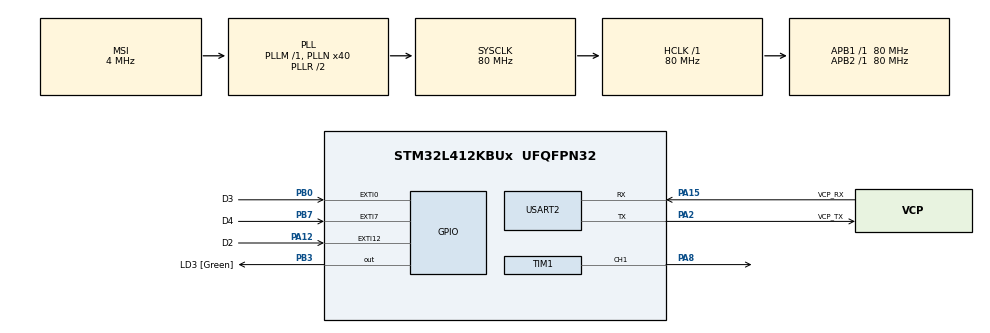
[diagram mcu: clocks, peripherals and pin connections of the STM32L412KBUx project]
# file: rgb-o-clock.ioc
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Dma.Request0=TIM1_CH1
Dma.TIM1_CH1.0.Direction=DMA_MEMORY_TO_PERIPH
Dma.TIM1_CH1.0.Instance=DMA1_Channel2
Dma.TIM1_CH1.0.MemDataAlignment=DMA_MDATAALIGN_BYTE
Dma.TIM1_CH1.0.MemInc=DMA_MINC_ENABLE
Dma.TIM1_CH1.0.Mode=DMA_CIRCULAR
Dma.TIM1_CH1.0.PeriphDataAlignment=DMA_PDATAALIGN_WORD
Dma.TIM1_CH1.0.PeriphInc=DMA_PINC_DISABLE
Dma.TIM1_CH1.0.Priority=DMA_PRIORITY_HIGH
Mcu.Family=STM32L4
Mcu.Name=STM32L412KBUx
Mcu.Package=UFQFPN32
NVIC.DMA1_Channel2_IRQn=true\:0\:0\:false\:false\:true\:true\:true
NVIC.EXTI0_IRQn=true\:0\:0\:false\:false\:true\:true\:true
NVIC.EXTI15_10_IRQn=true\:0\:0\:false\:false\:true\:true\:true
NVIC.EXTI9_5_IRQn=true\:0\:0\:false\:false\:true\:true\:true
NVIC.PriorityGroup=NVIC_PRIORITYGROUP_4
PA12.GPIO_Label=D2
PA12.Signal=GPXTI12
PA13\ (JTMS/SWDIO).GPIO_Label=SWDIO
PA13\ (JTMS/SWDIO).Mode=Serial_Wire
PA13\ (JTMS/SWDIO).Signal=SYS_JTMS-SWDIO
PA14\ (JTCK/SWCLK).GPIO_Label=SWCLK
PA14\ (JTCK/SWCLK).Mode=Serial_Wire
PA14\ (JTCK/SWCLK).Signal=SYS_JTCK-SWCLK
PA15\ (JTDI).GPIO_Label=VCP_RX
PA15\ (JTDI).Mode=Asynchronous
PA15\ (JTDI).Signal=USART2_RX
PA2.GPIO_Label=VCP_TX
PA2.Mode=Asynchronous
PA2.Signal=USART2_TX
PA8.GPIO_PuPd=GPIO_PULLUP
PA8.GPIO_Speed=GPIO_SPEED_FREQ_HIGH
PA8.Signal=S_TIM1_CH1
PB0.GPIO_Label=D3
PB0.Signal=GPXTI0
PB3\ (JTDO/TRACESWO).GPIO_Label=LD3 [Green]
PB3\ (JTDO/TRACESWO).Signal=GPIO_Output
PB7.GPIO_Label=D4
PB7.Signal=GPXTI7
PC14-OSC32_IN\ (PC14).Mode=LSE-External-Oscillator
PC14-OSC32_IN\ (PC14).Signal=RCC_OSC32_IN
PC15-OSC32_OUT\ (PC15).Mode=LSE-External-Oscillator
PC15-OSC32_OUT\ (PC15).Signal=RCC_OSC32_OUT
ProjectManager.HeapSize=0x200
ProjectManager.StackSize=0x400
ProjectManager.TargetToolchain=STM32CubeIDE
RCC.ADCFreq_Value=80000000
RCC.AHBFreq_Value=80000000
RCC.APB1Freq_Value=80000000
RCC.APB1TimFreq_Value=80000000
RCC.APB2Freq_Value=80000000
RCC.APB2TimFreq_Value=80000000
RCC.CortexFreq_Value=80000000
RCC.FLatency=FLASH_LATENCY_4
RCC.HCLKFreq_Value=80000000
RCC.HSE_VALUE=8000000
RCC.HSI48_VALUE=48000000
RCC.HSICalibrationValue=16
RCC.HSI_VALUE=16000000
RCC.MSI_VALUE=4000000
RCC.PLLN=40
RCC.RTCClockSelection=RCC_RTCCLKSOURCE_LSE
RCC.SYSCLKFreq_VALUE=80000000
RCC.SYSCLKSource=RCC_SYSCLKSOURCE_PLLCLK
RCC.USBFreq_Value=4000000
RCC.VCOOutputFreq_Value=160000000
RTC.Format=RTC_FORMAT_BIN
RTC.Hours=13
RTC.Minutes=59
RTC.Seconds=55
RTC.SynchPrediv=255
SH.S_TIM1_CH1.0=TIM1_CH1,PWM Generation1 CH1
TIM1.Channel-PWM\ Generation1\ CH1=TIM_CHANNEL_1
TIM1.Period=99
USART2.VirtualMode-Asynchronous=VM_ASYNC
VP_RTC_VS_RTC_Activate.Mode=RTC_Enabled
VP_RTC_VS_RTC_Calendar.Mode=RTC_Calendar
VP_TIM1_VS_ClockSourceINT.Mode=Internal
board=NUCLEO-L412KB

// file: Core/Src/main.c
/* USER CODE BEGIN Header */
/**
 ******************************************************************************
 * @file           : main.c
 * @brief          : Main program body
 ******************************************************************************
 * @attention
 *
 * <h2><center>&copy; Copyright (c) 2020 STMicroelectronics.
 * All rights reserved.</center></h2>
 *
 * This software component is licensed by ST under BSD 3-Clause license,
 * the "License"; You may not use this file except in compliance with the
 * License. You may obtain a copy of the License at:
 *                        opensource.org/licenses/BSD-3-Clause
 *
 ******************************************************************************
 */
/* USER CODE END Header */
#include "main.h"

/* USER CODE BEGIN Includes */
#include "ws2812.h"
#include "stripEffects.h"
#include "clock.h"
/* USER CODE END Includes */

RTC_HandleTypeDef hrtc;

TIM_HandleTypeDef htim1;
DMA_HandleTypeDef hdma_tim1_ch1;

UART_HandleTypeDef huart2;

void SystemClock_Config(void);
static void MX_GPIO_Init(void);
static void MX_DMA_Init(void);
static void MX_USART2_UART_Init(void);
static void MX_TIM1_Init(void);
static void MX_RTC_Init(void);
/* USER CODE BEGIN PFP */
void print_val(int32_t val);
/* USER CODE END PFP */

int main(void)
{

  /* MCU Configuration--------------------------------------------------------*/

  /* Reset of all peripherals, Initializes the Flash interface and the Systick. */
  HAL_Init();

  /* Configure the system clock */
  SystemClock_Config();

  /* Initialize all configured peripherals */
  MX_GPIO_Init();
  MX_DMA_Init();
  MX_USART2_UART_Init();
  MX_TIM1_Init();
  MX_RTC_Init();
  /* USER CODE BEGIN 2 */

	ws2812_start(&htim1);

  /* USER CODE END 2 */

  /* Infinite loop */
  /* USER CODE BEGIN WHILE */
	while (1)
	{
		display_clock(&hrtc, &htim1);
    /* USER CODE END WHILE */

	}
}

void SystemClock_Config(void)
{
  RCC_OscInitTypeDef RCC_OscInitStruct = {0};
  RCC_ClkInitTypeDef RCC_ClkInitStruct = {0};
  RCC_PeriphCLKInitTypeDef PeriphClkInit = {0};

  /** Configure LSE Drive Capability
  */
  HAL_PWR_EnableBkUpAccess();
  __HAL_RCC_LSEDRIVE_CONFIG(RCC_LSEDRIVE_LOW);
  /** Configure the main internal regulator output voltage
  */
  if (HAL_PWREx_ControlVoltageScaling(PWR_REGULATOR_VOLTAGE_SCALE1) != HAL_OK)
  {
    Error_Handler();
  }
  /** Initializes the RCC Oscillators according to the specified parameters
  * in the RCC_OscInitTypeDef structure.
  */
  RCC_OscInitStruct.OscillatorType = RCC_OSCILLATORTYPE_LSE|RCC_OSCILLATORTYPE_MSI;
  RCC_OscInitStruct.LSEState = RCC_LSE_ON;
  RCC_OscInitStruct.MSIState = RCC_MSI_ON;
  RCC_OscInitStruct.MSICalibrationValue = 0;
  RCC_OscInitStruct.MSIClockRange = RCC_MSIRANGE_6;
  RCC_OscInitStruct.PLL.PLLState = RCC_PLL_ON;
  RCC_OscInitStruct.PLL.PLLSource = RCC_PLLSOURCE_MSI;
  RCC_OscInitStruct.PLL.PLLM = 1;
  RCC_OscInitStruct.PLL.PLLN = 40;
  RCC_OscInitStruct.PLL.PLLQ = RCC_PLLQ_DIV2;
  RCC_OscInitStruct.PLL.PLLR = RCC_PLLR_DIV2;
  if (HAL_RCC_OscConfig(&RCC_OscInitStruct) != HAL_OK)
  {
    Error_Handler();
  }
  /** Initializes the CPU, AHB and APB buses clocks
  */
  RCC_ClkInitStruct.ClockType = RCC_CLOCKTYPE_HCLK|RCC_CLOCKTYPE_SYSCLK
                              |RCC_CLOCKTYPE_PCLK1|RCC_CLOCKTYPE_PCLK2;
  RCC_ClkInitStruct.SYSCLKSource = RCC_SYSCLKSOURCE_PLLCLK;
  RCC_ClkInitStruct.AHBCLKDivider = RCC_SYSCLK_DIV1;
  RCC_ClkInitStruct.APB1CLKDivider = RCC_HCLK_DIV1;
  RCC_ClkInitStruct.APB2CLKDivider = RCC_HCLK_DIV1;

  if (HAL_RCC_ClockConfig(&RCC_ClkInitStruct, FLASH_LATENCY_4) != HAL_OK)
  {
    Error_Handler();
  }
  PeriphClkInit.PeriphClockSelection = RCC_PERIPHCLK_RTC|RCC_PERIPHCLK_USART2;
  PeriphClkInit.Usart2ClockSelection = RCC_USART2CLKSOURCE_PCLK1;
  PeriphClkInit.RTCClockSelection = RCC_RTCCLKSOURCE_LSE;
  if (HAL_RCCEx_PeriphCLKConfig(&PeriphClkInit) != HAL_OK)
  {
    Error_Handler();
  }
  /** Enable MSI Auto calibration
  */
  HAL_RCCEx_EnableMSIPLLMode();
}

static void MX_RTC_Init(void)
{

  RTC_TimeTypeDef sTime = {0};
  RTC_DateTypeDef sDate = {0};

  /** Initialize RTC Only
  */
  hrtc.Instance = RTC;
  hrtc.Init.HourFormat = RTC_HOURFORMAT_24;
  hrtc.Init.AsynchPrediv = 127;
  hrtc.Init.SynchPrediv = 255;
  hrtc.Init.OutPut = RTC_OUTPUT_DISABLE;
  hrtc.Init.OutPutRemap = RTC_OUTPUT_REMAP_NONE;
  hrtc.Init.OutPutPolarity = RTC_OUTPUT_POLARITY_HIGH;
  hrtc.Init.OutPutType = RTC_OUTPUT_TYPE_OPENDRAIN;
  hrtc.Init.OutPutPullUp = RTC_OUTPUT_PULLUP_NONE;
  if (HAL_RTC_Init(&hrtc) != HAL_OK)
  {
    Error_Handler();
  }

  /** Initialize RTC and set the Time and Date
  */
  sTime.Hours = 13;
  sTime.Minutes = 59;
  sTime.Seconds = 55;
  sTime.DayLightSaving = RTC_DAYLIGHTSAVING_NONE;
  sTime.StoreOperation = RTC_STOREOPERATION_RESET;
  if (HAL_RTC_SetTime(&hrtc, &sTime, RTC_FORMAT_BIN) != HAL_OK)
  {
    Error_Handler();
  }
  sDate.WeekDay = RTC_WEEKDAY_MONDAY;
  sDate.Month = RTC_MONTH_JANUARY;
  sDate.Date = 1;
  sDate.Year = 0;

  if (HAL_RTC_SetDate(&hrtc, &sDate, RTC_FORMAT_BIN) != HAL_OK)
  {
    Error_Handler();
  }
  /* USER CODE BEGIN RTC_Init 2 */
	HAL_RTCEx_EnableBypassShadow(&hrtc);
  /* USER CODE END RTC_Init 2 */

}

static void MX_TIM1_Init(void)
{

  TIM_ClockConfigTypeDef sClockSourceConfig = {0};
  TIM_MasterConfigTypeDef sMasterConfig = {0};
  TIM_OC_InitTypeDef sConfigOC = {0};
  TIM_BreakDeadTimeConfigTypeDef sBreakDeadTimeConfig = {0};

  htim1.Instance = TIM1;
  htim1.Init.Prescaler = 0;
  htim1.Init.CounterMode = TIM_COUNTERMODE_UP;
  htim1.Init.Period = 99;
  htim1.Init.ClockDivision = TIM_CLOCKDIVISION_DIV1;
  htim1.Init.RepetitionCounter = 0;
  htim1.Init.AutoReloadPreload = TIM_AUTORELOAD_PRELOAD_DISABLE;
  if (HAL_TIM_Base_Init(&htim1) != HAL_OK)
  {
    Error_Handler();
  }
  sClockSourceConfig.ClockSource = TIM_CLOCKSOURCE_INTERNAL;
  if (HAL_TIM_ConfigClockSource(&htim1, &sClockSourceConfig) != HAL_OK)
  {
    Error_Handler();
  }
  if (HAL_TIM_PWM_Init(&htim1) != HAL_OK)
  {
    Error_Handler();
  }
  sMasterConfig.MasterOutputTrigger = TIM_TRGO_RESET;
  sMasterConfig.MasterOutputTrigger2 = TIM_TRGO2_RESET;
  sMasterConfig.MasterSlaveMode = TIM_MASTERSLAVEMODE_DISABLE;
  if (HAL_TIMEx_MasterConfigSynchronization(&htim1, &sMasterConfig) != HAL_OK)
  {
    Error_Handler();
  }
  sConfigOC.OCMode = TIM_OCMODE_PWM1;
  sConfigOC.Pulse = 0;
  sConfigOC.OCPolarity = TIM_OCPOLARITY_HIGH;
  sConfigOC.OCNPolarity = TIM_OCNPOLARITY_HIGH;
  sConfigOC.OCFastMode = TIM_OCFAST_DISABLE;
  sConfigOC.OCIdleState = TIM_OCIDLESTATE_RESET;
  sConfigOC.OCNIdleState = TIM_OCNIDLESTATE_RESET;
  if (HAL_TIM_PWM_ConfigChannel(&htim1, &sConfigOC, TIM_CHANNEL_1) != HAL_OK)
  {
    Error_Handler();
  }
  sBreakDeadTimeConfig.OffStateRunMode = TIM_OSSR_DISABLE;
  sBreakDeadTimeConfig.OffStateIDLEMode = TIM_OSSI_DISABLE;
  sBreakDeadTimeConfig.LockLevel = TIM_LOCKLEVEL_OFF;
  sBreakDeadTimeConfig.DeadTime = 0;
  sBreakDeadTimeConfig.BreakState = TIM_BREAK_DISABLE;
  sBreakDeadTimeConfig.BreakPolarity = TIM_BREAKPOLARITY_HIGH;
  sBreakDeadTimeConfig.BreakFilter = 0;
  sBreakDeadTimeConfig.Break2State = TIM_BREAK2_DISABLE;
  sBreakDeadTimeConfig.Break2Polarity = TIM_BREAK2POLARITY_HIGH;
  sBreakDeadTimeConfig.Break2Filter = 0;
  sBreakDeadTimeConfig.AutomaticOutput = TIM_AUTOMATICOUTPUT_DISABLE;
  if (HAL_TIMEx_ConfigBreakDeadTime(&htim1, &sBreakDeadTimeConfig) != HAL_OK)
  {
    Error_Handler();
  }
  HAL_TIM_MspPostInit(&htim1);

}

static void MX_USART2_UART_Init(void)
{

  huart2.Instance = USART2;
  huart2.Init.BaudRate = 115200;
  huart2.Init.WordLength = UART_WORDLENGTH_8B;
  huart2.Init.StopBits = UART_STOPBITS_1;
  huart2.Init.Parity = UART_PARITY_NONE;
  huart2.Init.Mode = UART_MODE_TX_RX;
  huart2.Init.HwFlowCtl = UART_HWCONTROL_NONE;
  huart2.Init.OverSampling = UART_OVERSAMPLING_16;
  huart2.Init.OneBitSampling = UART_ONE_BIT_SAMPLE_DISABLE;
  huart2.AdvancedInit.AdvFeatureInit = UART_ADVFEATURE_NO_INIT;
  if (HAL_UART_Init(&huart2) != HAL_OK)
  {
    Error_Handler();
  }

}

static void MX_DMA_Init(void)
{

  /* DMA controller clock enable */
  __HAL_RCC_DMA1_CLK_ENABLE();

  /* DMA interrupt init */
  /* DMA1_Channel2_IRQn interrupt configuration */
  HAL_NVIC_SetPriority(DMA1_Channel2_IRQn, 0, 0);
  HAL_NVIC_EnableIRQ(DMA1_Channel2_IRQn);

}

static void MX_GPIO_Init(void)
{
  GPIO_InitTypeDef GPIO_InitStruct = {0};

  /* GPIO Ports Clock Enable */
  __HAL_RCC_GPIOC_CLK_ENABLE();
  __HAL_RCC_GPIOA_CLK_ENABLE();
  __HAL_RCC_GPIOB_CLK_ENABLE();

  /*Configure GPIO pin Output Level */
  HAL_GPIO_WritePin(LD3_GPIO_Port, LD3_Pin, GPIO_PIN_RESET);

  /*Configure GPIO pins : D3_Pin D4_Pin */
  GPIO_InitStruct.Pin = D3_Pin|D4_Pin;
  GPIO_InitStruct.Mode = GPIO_MODE_IT_RISING;
  GPIO_InitStruct.Pull = GPIO_NOPULL;
  HAL_GPIO_Init(GPIOB, &GPIO_InitStruct);

  /*Configure GPIO pin : D2_Pin */
  GPIO_InitStruct.Pin = D2_Pin;
  GPIO_InitStruct.Mode = GPIO_MODE_IT_RISING;
  GPIO_InitStruct.Pull = GPIO_NOPULL;
  HAL_GPIO_Init(D2_GPIO_Port, &GPIO_InitStruct);

  /*Configure GPIO pin : LD3_Pin */
  GPIO_InitStruct.Pin = LD3_Pin;
  GPIO_InitStruct.Mode = GPIO_MODE_OUTPUT_PP;
  GPIO_InitStruct.Pull = GPIO_NOPULL;
  GPIO_InitStruct.Speed = GPIO_SPEED_FREQ_LOW;
  HAL_GPIO_Init(LD3_GPIO_Port, &GPIO_InitStruct);

  /* EXTI interrupt init*/
  HAL_NVIC_SetPriority(EXTI0_IRQn, 0, 0);
  HAL_NVIC_EnableIRQ(EXTI0_IRQn);

  HAL_NVIC_SetPriority(EXTI9_5_IRQn, 0, 0);
  HAL_NVIC_EnableIRQ(EXTI9_5_IRQn);

  HAL_NVIC_SetPriority(EXTI15_10_IRQn, 0, 0);
  HAL_NVIC_EnableIRQ(EXTI15_10_IRQn);

}

/* USER CODE BEGIN 4 */
void print_val(int32_t val)
{
	char str[20];
	sprintf(str, "%ld\r\n", val);
	HAL_UART_Transmit(&huart2, (uint8_t*) str, strlen(str), 0xff);
}

void HAL_GPIO_EXTI_Callback(uint16_t GPIO_Pin)
{
	static int32_t val = 0;
	static int32_t val2 = 0;

	switch (GPIO_Pin)
	{
	case D2_Pin:
		if (!HAL_GPIO_ReadPin(GPIOB, GPIO_PIN_0))
		{
			val++;
			HAL_GPIO_WritePin(LD3_GPIO_Port, LD3_Pin, 1);
		}
		else
		{
			val--;
			HAL_GPIO_WritePin(LD3_GPIO_Port, LD3_Pin, 0);
		}
		print_val(val);
		break;

	case D3_Pin:
		break;

	case D4_Pin:
		val2++;
		print_val(val2);
		HAL_GPIO_TogglePin(LD3_GPIO_Port, LD3_Pin);
		break;

	default:
		break;
	}
}
/* USER CODE END 4 */

void Error_Handler(void)
{
	__disable_irq();
	while (1)
	{
	}
}

/************************ (C) COPYRIGHT STMicroelectronics *****END OF FILE****/
